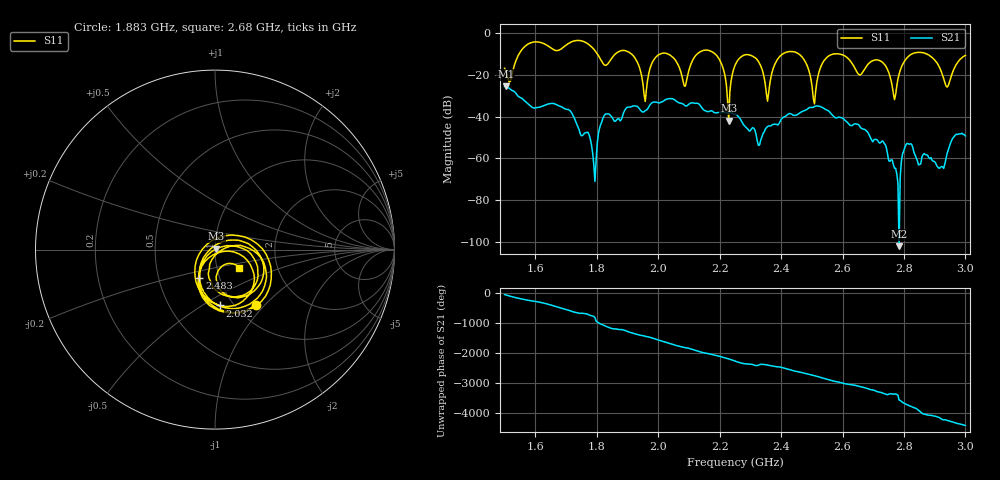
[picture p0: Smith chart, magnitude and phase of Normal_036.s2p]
# HZ S RI R 50
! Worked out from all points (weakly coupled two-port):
!   404 points, 1.5 GHz to 3 GHz, reference 50 ohm
!   highest |S21| = -25.62 dB at 1.504 GHz (marker M1); lowest = -102.0 dB at 2.784 GHz (marker M2)
!   lowest |S11| = -41.9 dB at 2.23 GHz (marker M3), VSWR 1.02, Z = 50.6 + j0.48 ohm
!   |S11| at or under -10 dB: 2.185 GHz to 2.406 GHz (221.2 MHz wide, 9.63 % of centre); 2.585 GHz to 2.826 GHz (241.7 MHz wide, 8.93 % of centre); 2.873 GHz to end of sweep (the widest 3 of 8)
!   S12 and S22 are empty: the file has one direction only
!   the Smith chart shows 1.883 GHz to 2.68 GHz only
!   S11 on the Smith chart (normalised r, x): 1.883 GHz: 1.23, -0.88; 2.032 GHz: 0.86, -0.59; 2.483 GHz: 0.80, -0.26; 2.68 GHz: 1.28, -0.26
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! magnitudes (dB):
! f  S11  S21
! 1.5 GHz  -16.9  -25.6
! 1.504 GHz  -18.3  -25.6
! 1.753 GHz  -3.9  -49.1
! 1.794 GHz  -8.5  -71.1
! 1.824 GHz  -15.2  -39.6
! 1.883 GHz  -8.4  -40.1
! 1.958 GHz  -32.8  -37.2
! 2.002 GHz  -10.4  -33.5
! 2.032 GHz  -10.1  -31.5
! 2.088 GHz  -25.5  -34.8
! 2.177 GHz  -9.2  -37.5
! 2.23 GHz  -41.9  -38.1
! 2.252 GHz  -14.9  -38.8
! 2.33 GHz  -14.6  -53.6
! 2.483 GHz  -14.9  -36.8
! 2.501 GHz  -26.0  -35.7
! 2.68 GHz  -15.6  -47.2
! 2.751 GHz  -19.0  -61.2
! 2.784 GHz  -19.8  -102.0
! 2.814 GHz  -11.3  -53.0
! 2.922 GHz  -18.6  -63.9
! 3 GHz  -10.7  -49.3
